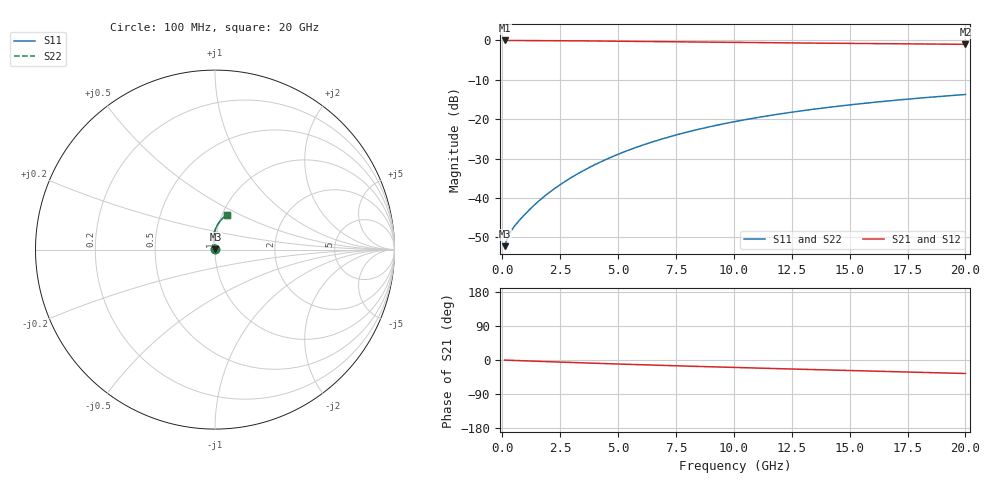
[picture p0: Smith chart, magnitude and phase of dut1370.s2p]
! Touchstone file exported from HFSS 2024.1.0
!  File:  C:/UserFiles/LocalFiles/RDL_TSV_Batchsim/temp_RDL_bottom_1370_1780371096.aedt
!  Generated:  11:33:56 AM Jun  2, 2026
!  Design:  RDL_bottom
!  Project:  temp_RDL_bottom_1370_1780371096
!  Setup:  Setup1
!  Solution:  Sweep
! Variables:
!  dtsv = 10.80580581um
!  hbump = 3um
!  htsv = 68.45um
!  ldown = 601.88um
!  lrdl = 100um
!  p = 40
!  p1 = 41.94um
!  rhole = 1um
!  t = 450um
!  tdown = 3.66um
!  trdl = 3.915915916um
!  wdown = 29.47um
!  wrdl = 20um
# GHz S MA R 50.000000
! Terminal data exported
! Port[1] = RDL1_T1
! Port[2] = RDL1_T2
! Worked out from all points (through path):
!   200 points, 100 MHz to 20 GHz, reference 50 ohm
!   highest |S21| = -0.02 dB at 100 MHz (marker M1); lowest = -1.0 dB at 20 GHz (marker M2)
!   group delay of S21, straight-line fit = 4.86 ps
!   lowest |S11| = -52.3 dB at 100 MHz (marker M3), VSWR 1.00, Z = 50.2 + j0.0886 ohm
!   |S11| at or under -10 dB: start of sweep to end of sweep
!   |S22| runs from -52.3 to -13.7 dB; largest |S21 - S12| = 4.2e-15
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0.1  0.002438 21.2  0.9977 -0.2  0.9977 -0.2  0.002438 21.2
! Gamma 0 0 0 0
! Port Impedance 50 0 50 0
0.2  0.002968 32.5  0.9974 -0.5  0.9974 -0.5  0.002968 32.5
0.3  0.00346 38.8  0.9972 -0.7  0.9972 -0.7  0.003459 38.8
0.4  0.003884 43.5  0.9969 -0.9  0.9969 -0.9  0.003883 43.5
0.6  0.004656 51.7  0.9965 -1.4  0.9965 -1.4  0.004655 51.7
0.8  0.005445 58.9  0.9961 -1.8  0.9961 -1.8  0.005444 58.9
1.3  0.007703 72.4  0.995 -2.9  0.995 -2.9  0.007702 72.4
1.8  0.01037 81.3  0.9935 -4.0  0.9935 -4.0  0.01037 81.4
2.3  0.01341 87.5  0.9916 -5.1  0.9916 -5.1  0.01341 87.5
2.9  0.01754 92.5  0.9888 -6.4  0.9888 -6.4  0.01755 92.5
3.5  0.02219 95.7  0.9856 -7.6  0.9856 -7.6  0.0222 95.8
4.2  0.02821 98.0  0.9814 -9.0  0.9814 -9.0  0.02823 98.0
5  0.03579 99.1  0.9763 -10.6  0.9763 -10.6  0.03582 99.2
5.9  0.04505 99.2  0.9703 -12.3  0.9703 -12.3  0.0451 99.3
6.8  0.05492 98.5  0.9641 -14.0  0.9641 -14.0  0.05497 98.6
8.4  0.07342 96.0  0.9534 -16.9  0.9534 -16.9  0.07351 96.1
10.1  0.09375 92.6  0.9426 -19.8  0.9426 -19.8  0.09386 92.6
11.7  0.113 89.0  0.9331 -22.5  0.9331 -22.5  0.1131 89.1
13.4  0.1331 85.2  0.9236 -25.2  0.9236 -25.2  0.1333 85.2
15  0.1516 81.6  0.9152 -27.8  0.9152 -27.8  0.1518 81.7
16.7  0.1707 78.0  0.9066 -30.5  0.9066 -30.5  0.1709 78.0
20  0.2055 71.2  0.8909 -35.6  0.8909 -35.6  0.2058 71.3
